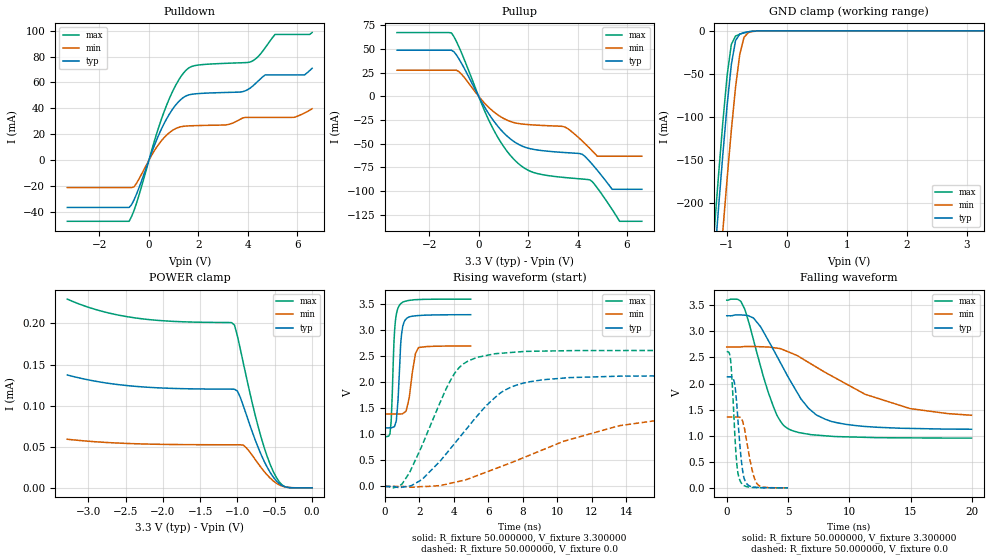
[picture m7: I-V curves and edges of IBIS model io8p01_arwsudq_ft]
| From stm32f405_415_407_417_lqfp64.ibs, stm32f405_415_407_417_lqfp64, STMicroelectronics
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|   Model io8p01_arwsudq_ft
[Model]  io8p01_arwsudq_ft
Model_type I/O
Polarity   Non-Inverting
Enable   Active-Low
Vinl =   0.990000V
Vinh =   2.310000V
Vmeas =  1.650000V
Cref =   50.000000pF
Rref =   100.000000M
Vref =   0.0V
C_comp   2.905500pF   2.823600pF   2.987900pF
[Temperature Range]   25.000000   0.125000k   -40.000000
[Pullup Reference]   3.300000V   2.700000V   3.600000V
[Pulldown Reference]   0.0V   0.0V   0.0V
[POWER Clamp Reference]   3.300000V   2.700000V   3.600000V
[GND Clamp Reference]   0.0V   0.0V   0.0V
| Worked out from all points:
|   slope of the pulldown table from 0 to 0.495 V, typ, clamps not added: 20.9 ohm
|   slope of the pullup table from 0 to 0.495 V, typ, clamps not added: 22.6 ohm
|   GND clamp passes 1 mA (typ) near -0.62 V on its own axis
|   rising waveform, R_fixture 50.000000, V_fixture 3.300000: 20-80 % time 213ps typ, 338ps min, 189ps max; typ from 1.12 V to 3.3 V
|   rising waveform, R_fixture 50.000000, V_fixture 0.0: 20-80 % time 3.35ns typ, 6.88ns min, 2.1ns max; typ from 0 V to 2.13 V
|   falling waveform, R_fixture 50.000000, V_fixture 3.300000: 20-80 % time 3.25ns typ, 6.72ns min, 2.01ns max; typ from 3.3 V to 1.12 V
|   falling waveform, R_fixture 50.000000, V_fixture 0.0: 20-80 % time 461ps typ, 655ps min, 374ps max; typ from 2.13 V to 0 V
[Pulldown]
|Voltage   I(typ)   I(min)   I(max)
-3.3V     -36.4mA    -21.08mA   -47.09mA
-800mV    -36.4mA    -21.08mA   -47.09mA
-600mV    -30.5mA    -20.54mA   -38.69mA
700mV     31.4mA     19.11mA    41.71mA
1.2V      45.15mA    25.37mA    61.75mA
1.6V      50.35mA    26.5mA     71.06mA
3.1V      52.28mA    27.26mA    74.76mA
4.1V      55.71mA    33.04mA    75.8mA
4.7V      65.81mA    33.04mA    86.69mA
5.1V      65.81mA    33.04mA    97.04mA
6.3V      65.87mA    36.5mA     97.04mA
6.6V      70.93mA    39.72mA    98.49mA
[Pullup]
|Voltage   I(typ)   I(min)   I(max)
-3.3V     48.56mA    27.45mA    67.2mA
-1.1V     48.56mA    27.45mA    66.91mA
-700mV    35.13mA    23.48mA    46.33mA
500mV     -22.07mA   -14mA      -30.03mA
1.5V      -49.1mA    -28.3mA    -68.56mA
2.2V      -56.05mA   -30.32mA   -80.35mA
3.5V      -59.53mA   -32.66mA   -85.92mA
4.5V      -69.08mA   -55.13mA   -88.39mA
4.8V      -78.24mA   -63.4mA    -96.88mA
5.4V      -98.3mA    -63.4mA    -119.6mA
5.7V      -98.3mA    -63.4mA    -132.1mA
6.6V      -98.3mA    -63.4mA    -132.1mA
[GND_clamp]
|Voltage   I(typ)   I(min)   I(max)
-3.3V     -2.319A    -2.397A    -2.292A
-1.2V     -266mA     -356.2mA   -228.4mA
-1.13V    -203.2mA   -293mA     -165.3mA
-1.06V    -142.7mA   -231.3mA   -105.2mA
-990mV    -86.51mA   -171.7mA   -51.78mA
-920mV    -39.3mA    -115.7mA   -15.93mA
-850mV    -11.37mA   -65.76mA   -6.097mA
-780mV    -3.83mA    -27.55mA   -3.88mA
-710mV    -2.09mA    -7.747mA   -2.382mA
-640mV    -1.147mA   -2.129mA   -1.22mA
-570mV    -523.9uA   -800uA     -476.9uA
3.28V     0A         0A         0A
[POWER_clamp]
|Voltage   I(typ)   I(min)   I(max)
-3.28V    137.3uA    59.14uA    229.6uA
-2.36V    123.4uA    53.65uA    206.6uA
-1.08V    120.1uA    52.41uA    201.1uA
-1.04V    120uA      52.41uA    198uA
-1V       117.7uA    52.4uA     184.5uA
-920mV    99.46uA    51.91uA    151.2uA
-720mV    48.42uA    29.12uA    73.51uA
-600mV    24.82uA    15.47uA    37.72uA
-520mV    13.1uA     8.45uA     19.84uA
-440mV    5.058uA    3.61uA     7.276uA
-360mV    1.193uA    1.129uA    1.311uA
0V        0A         0A         0A
[Ramp]
| variable   typ   min   max
dV/dt_r  1.27752/3.34417n   0.79896/6.88378n   1.56815/2.10146n
dV/dt_f  1.30248/3.25751n   0.74040/6.66937n   1.58786/2.00785n
R_load = 50.000000
[Rising Waveform]
R_fixture= 50.000000
V_fixture= 3.300000
V_fixture_min= 2.700000
V_fixture_max= 3.600000
|time   V(typ)   V(min)   V(max)
0s        1.124V     1.392V     954.3mV
300.3ps   1.126V     1.392V     1.012V
370.4ps   1.127V     1.392V     1.254V
570.6ps   1.159V     1.392V     2.999V
670.7ps   1.271V     1.391V     3.306V
830.8ps   2.084V     1.392V     3.47V
981ps     2.945V     1.394V     3.527V
1.241ns   3.22V      1.455V     3.563V
1.962ns   3.283V     2.668V     3.591V
4.985ns   3.3V       2.7V       3.599V
[Rising Waveform]
R_fixture= 50.000000
V_fixture= 0.0
V_fixture_min= 0.0
V_fixture_max= 0.0
|time   V(typ)   V(min)   V(max)
0s        360.6uV    205.5uV    689.3uV
1.001ns   -14.87mV   -990uV     47.26mV
2.162ns   132.8mV    -2.676mV   787mV
3.964ns   790.2mV    71.54mV    2.127V
4.565ns   1.034V     116.6mV    2.355V
5.325ns   1.341V     204.9mV    2.476V
6.767ns   1.809V     385.4mV    2.559V
8.408ns   2.011V     601.6mV    2.596V
13.61ns   2.118V     1.167V     2.611V
19.94ns   2.129V     1.359V     2.612V
[Falling Waveform]
R_fixture= 50.000000
V_fixture= 3.300000
V_fixture_min= 2.700000
V_fixture_max= 3.600000
|time   V(typ)   V(min)   V(max)
0s        3.3V       2.7V       3.599V
920.9ps   3.315V     2.7V       3.611V
1.481ns   3.31V      2.711V     3.419V
2.202ns   3.251V     2.71V      2.817V
3.764ns   2.666V     2.69V      1.582V
5.005ns   2.124V     2.608V     1.134V
6.687ns   1.521V     2.402V     1.027V
8.569ns   1.271V     2.143V     988.5mV
14.93ns   1.14V      1.52V      958.5mV
19.94ns   1.124V     1.392V     954.3mV
[Falling Waveform]
R_fixture= 50.000000
V_fixture= 0.0
V_fixture_min= 0.0
V_fixture_max= 0.0
|time   V(typ)   V(min)   V(max)
0s        2.129V     1.359V     2.612V
300.3ps   2.13V      1.359V     2.482V
620.6ps   2.024V     1.358V     1.2V
820.8ps   1.596V     1.36V      457.3mV
1.091ns   768.2mV    1.352V     134.1mV
1.291ns   334.4mV    1.28V      63.84mV
1.481ns   140.9mV    1.093V     36.31mV
2.142ns   17.53mV    269.8mV    7.487mV
2.452ns   9.451mV    85.43mV    5.303mV
4.985ns   360.6uV    205.5uV    689.3uV
